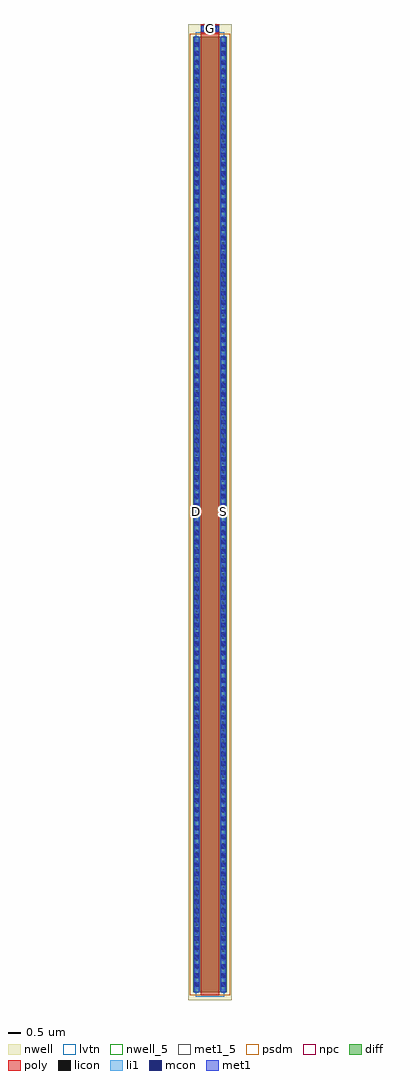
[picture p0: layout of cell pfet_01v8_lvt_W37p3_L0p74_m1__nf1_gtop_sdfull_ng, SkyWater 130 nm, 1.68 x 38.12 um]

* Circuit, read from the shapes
.subckt pfet_01v8_lvt_W37p3_L0p74_m1__nf1_gtop_sdfull_ng B D G S
XM1 S G D B sky130_fd_pr__pfet_01v8_lvt w=37.3 l=0.74
.ends

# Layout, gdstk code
import gdstk
lib = gdstk.Library(unit=1e-6, precision=1e-09)
def R(c, l, rs):  # rectangles x0, y0, x1, y1
    for r in rs: c.add(gdstk.rectangle(r[:2], r[2:], *l))
def A(c, l, x, y, w, h, nx, ny, dx, dy):  # array of equal rectangles
    R(c, l, [(x+i*dx, y+j*dy, x+i*dx+w, y+j*dy+h) for i in range(nx) for j in range(ny)])
nwell_5 = (64, 5)
nwell = (64, 20)
diff = (65, 20)
poly = (66, 20)
licon = (66, 44)
li1 = (67, 20)
mcon = (67, 44)
met1_5 = (68, 5)
met1 = (68, 20)
psdm = (94, 20)
npc = (95, 20)
lvtn = (125, 44)

sky130_fd_pr__pfet_01v8_ = lib.new_cell('sky130_fd_pr__pfet_01v8_lvt_KJXZPU')
R(sky130_fd_pr__pfet_01v8_, nwell, [(-0.84,-19.14,0.84,18.97)])
R(sky130_fd_pr__pfet_01v8_, diff, [(-0.66,-18.83,0.66,18.47)])
R(sky130_fd_pr__pfet_01v8_, poly, [(-0.37,-18.96,0.37,18.955)])
A(sky130_fd_pr__pfet_01v8_, licon, -0.6, -18.625, 0.17, 0.17, 1, 109, 0, 0.34)
A(sky130_fd_pr__pfet_01v8_, licon, 0.43, -18.625, 0.17, 0.17, 1, 109, 0, 0.34)
R(sky130_fd_pr__pfet_01v8_, licon, [(-0.255,18.705,-0.085,18.875), (0.085,18.705,0.255,18.875)])
R(sky130_fd_pr__pfet_01v8_, li1, [(-0.6,-18.85,-0.43,18.49), (0.43,-18.85,0.6,18.49), (-0.37,18.705,0.37,18.875)])
A(sky130_fd_pr__pfet_01v8_, mcon, -0.6, -18.625, 0.17, 0.17, 1, 103, 0, 0.36)
A(sky130_fd_pr__pfet_01v8_, mcon, 0.43, -18.625, 0.17, 0.17, 1, 103, 0, 0.36)
R(sky130_fd_pr__pfet_01v8_, mcon, [(-0.265,18.705,-0.095,18.875), (0.095,18.705,0.265,18.875)])
R(sky130_fd_pr__pfet_01v8_, met1, [(-0.63,-18.83,-0.4,18.47), (0.4,-18.83,0.63,18.47), (-0.35,18.675,0.35,18.905)])
R(sky130_fd_pr__pfet_01v8_, psdm, [(-0.785,-18.955,0.785,18.595)])
R(sky130_fd_pr__pfet_01v8_, npc, [(-0.355,18.605,0.355,18.975)])
R(sky130_fd_pr__pfet_01v8_, lvtn, [(-0.55,-19.01,0.55,18.65)])
sky130_fd_pr__pfet_01v8_.add(gdstk.Label('D', (-0.515,-0.18), layer=67, texttype=5))
sky130_fd_pr__pfet_01v8_.add(gdstk.Label('S', (0.515,-0.18), layer=67, texttype=5))
sky130_fd_pr__pfet_01v8_.add(gdstk.Label('G', (0,18.79), layer=67, texttype=5))

pfet_01v8_lvt_w37p3_l0p7 = lib.new_cell('pfet_01v8_lvt_W37p3_L0p74_m1__nf1_gtop_sdfull_ng')
R(pfet_01v8_lvt_w37p3_l0p7, nwell_5, [(0.05,19.005,0.15,19.105)])
R(pfet_01v8_lvt_w37p3_l0p7, nwell, [(0.05,19.005,0.15,19.105)])
R(pfet_01v8_lvt_w37p3_l0p7, met1_5, [(0.21,18.96,0.44,19.16), (1.24,18.96,1.47,19.16), (0.49,37.815,1.19,38.045)])
R(pfet_01v8_lvt_w37p3_l0p7, met1, [(0.21,18.96,0.44,19.16), (1.24,18.96,1.47,19.16), (0.49,37.815,1.19,38.045)])
pfet_01v8_lvt_w37p3_l0p7.add(gdstk.Reference(sky130_fd_pr__pfet_01v8_, (0.84,19.14)))
pfet_01v8_lvt_w37p3_l0p7.add(gdstk.Label('D', (0.325,19.06), layer=68, texttype=5))
pfet_01v8_lvt_w37p3_l0p7.add(gdstk.Label('S', (1.355,19.06), layer=68, texttype=5))
pfet_01v8_lvt_w37p3_l0p7.add(gdstk.Label('G', (0.84,37.93), layer=68, texttype=5))
pfet_01v8_lvt_w37p3_l0p7.add(gdstk.Label('B', (0.1,19.055), layer=64, texttype=5))

lib.write_gds('pfet_01v8_lvt_W37p3_L0p74_m1__nf1_gtop_sdfull_ng.gds')
